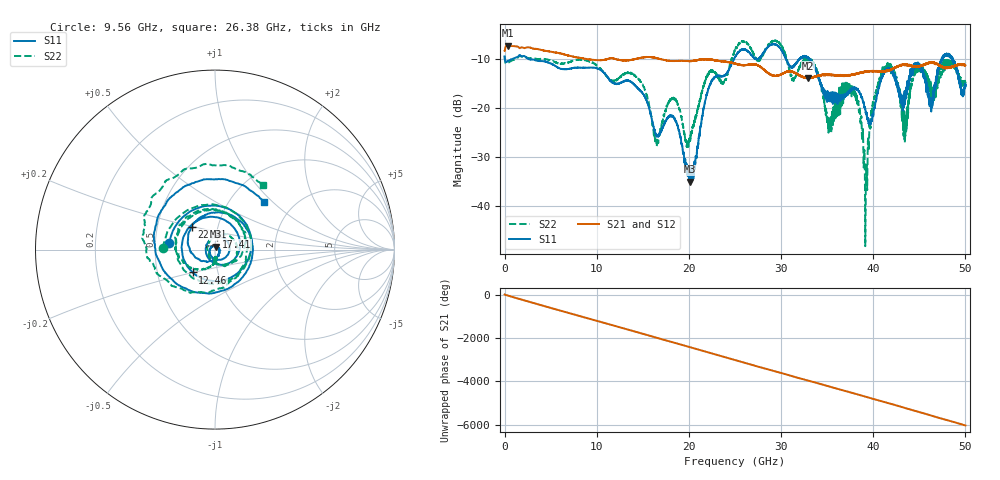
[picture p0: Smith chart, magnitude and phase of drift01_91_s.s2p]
!Created with skrf (http://scikit-rf.org).
# Hz S RI R 50.0
!freq ReS11 ImS11 ReS21 ImS21 ReS12 ImS12 ReS22 ImS22
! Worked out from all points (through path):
!   10001 points, 300 kHz to 50 GHz, reference 50 ohm
!   highest |S21| = -7.33 dB at 325.3 MHz (marker M1); lowest = -14.0 dB at 32.94 GHz (marker M2)
!   group delay of S21, straight-line fit = 335 ps
!   lowest |S11| = -35.0 dB at 20.15 GHz (marker M3), VSWR 1.04, Z = 50.5 + j1.71 ohm
!   |S11| at or under -10 dB: 2.553 GHz to 24.9 GHz (22.35 GHz wide, 163 % of centre); 30.52 GHz to 32.01 GHz (1.497 GHz wide, 4.79 % of centre); 33.06 GHz to 47.44 GHz (14.38 GHz wide, 35.7 % of centre) (the widest 3 of 23)
!   |S22| runs from -48.1 to -6.3 dB; largest |S21 - S12| = 0.0096
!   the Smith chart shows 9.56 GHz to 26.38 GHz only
!   S11 on the Smith chart (normalised r, x): 9.56 GHz: 0.59, +0.05; 12.46 GHz: 0.76, -0.20; 17.41 GHz: 1.01, +0.14; 22.41 GHz: 0.75, +0.20; 26.38 GHz: 1.42, +0.88
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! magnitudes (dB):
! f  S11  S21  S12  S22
! 300 kHz  -9.5  -8.4  -8.5  -9.5
! 325.3 MHz  -10.5  -7.3  -7.3  -10.9
! 8.335 GHz  -11.8  -9.8  -9.9  -10.2
! 9.56 GHz  -11.8  -10.2  -10.2  -10.8
! 12.46 GHz  -15.0  -10.2  -10.2  -13.9
! 16.67 GHz  -25.8  -10.0  -10.0  -27.1
! 17.41 GHz  -22.9  -10.3  -10.3  -20.4
! 20.15 GHz  -35.0  -10.5  -10.5  -26.0
! 22.41 GHz  -14.8  -10.2  -10.2  -12.4
! 25 GHz  -9.6  -11.0  -11.0  -8.3
! 26.38 GHz  -8.4  -11.2  -11.3  -6.9
! 32.94 GHz  -10.0  -14.0  -13.9  -10.2
! 33.34 GHz  -10.7  -13.8  -13.8  -10.6
! 35.23 GHz  -17.8  -13.2  -13.2  -23.0
! 37.99 GHz  -15.8  -13.2  -13.1  -16.9
! 39.17 GHz  -20.6  -12.6  -12.6  -42.0
! 40.15 GHz  -20.0  -12.5  -12.5  -17.9
! 41.67 GHz  -12.1  -12.3  -12.3  -11.7
! 43.45 GHz  -17.5  -11.3  -11.3  -26.2
! 44.87 GHz  -11.1  -11.5  -11.5  -11.5
! 46.25 GHz  -19.7  -10.8  -10.8  -15.9
! 50 GHz  -15.6  -11.3  -11.4  -15.0
